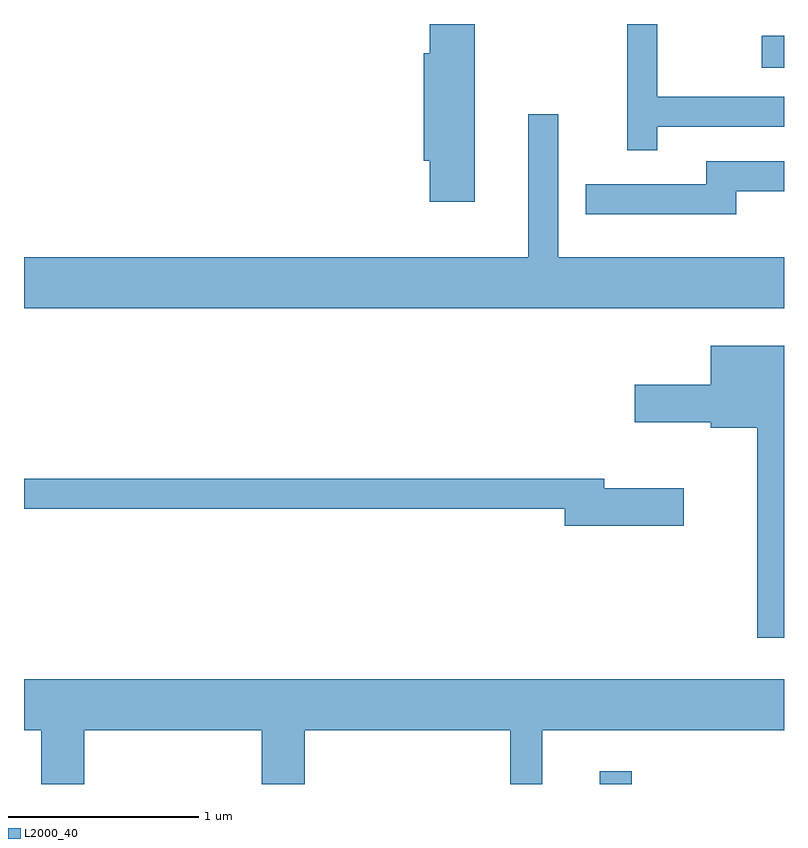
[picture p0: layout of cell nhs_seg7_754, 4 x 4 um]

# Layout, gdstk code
import gdstk
lib = gdstk.Library(unit=1e-6, precision=1e-09)
def R(c, l, rs):  # rectangles x0, y0, x1, y1
    for r in rs: c.add(gdstk.rectangle(r[:2], r[2:], *l))
def P(c, l, *ps):  # polygons
    for p in ps: c.add(gdstk.Polygon(p, *l))
L2000_40 = (2000, 40)

nhs_seg7_754 = lib.new_cell('nhs_seg7_754')
R(nhs_seg7_754, L2000_40, [(210.641,1716.252,210.809,1716.318), (211.493,1720.021,211.611,1720.189)])
P(nhs_seg7_754, L2000_40, [(209.984,1720.252),(209.746,1720.252),(209.746,1720.099),(209.716,1720.099),(209.716,1719.531),(209.746,1719.531),(209.746,1719.316),(209.984,1719.316)],
  [(210.944,1719.711),(211.611,1719.711),(211.611,1719.869),(210.944,1719.869),(210.944,1720.252),(210.786,1720.252),(210.786,1719.588),(210.944,1719.588)],
  [(211.611,1719.024),(210.424,1719.024),(210.424,1719.778),(210.266,1719.778),(210.266,1719.024),(207.611,1719.024),(207.611,1718.756),(211.611,1718.756)],
  [(211.359,1719.371),(211.611,1719.371),(211.611,1719.529),(211.201,1719.529),(211.201,1719.409),(210.568,1719.409),(210.568,1719.251),(211.359,1719.251)],
  [(211.611,1718.559),(211.226,1718.559),(211.226,1718.354),(210.826,1718.354),(210.826,1718.156),(211.226,1718.156),(211.226,1718.126),(211.471,1718.126),(211.471,1717.023),(211.611,1717.023)],
  [(211.084,1717.809),(210.664,1717.809),(210.664,1717.859),(207.611,1717.859),(207.611,1717.701),(210.456,1717.701),(210.456,1717.611),(211.084,1717.611)],
  [(207.929,1716.536),(208.861,1716.536),(208.861,1716.252),(209.089,1716.252),(209.089,1716.536),(210.171,1716.536),(210.171,1716.252),(210.339,1716.252),(210.339,1716.536),(211.611,1716.536),(211.611,1716.804),(207.611,1716.804),(207.611,1716.536),(207.701,1716.536),(207.701,1716.252),(207.929,1716.252)])

lib.write_gds('nhs_seg7_754.gds')
